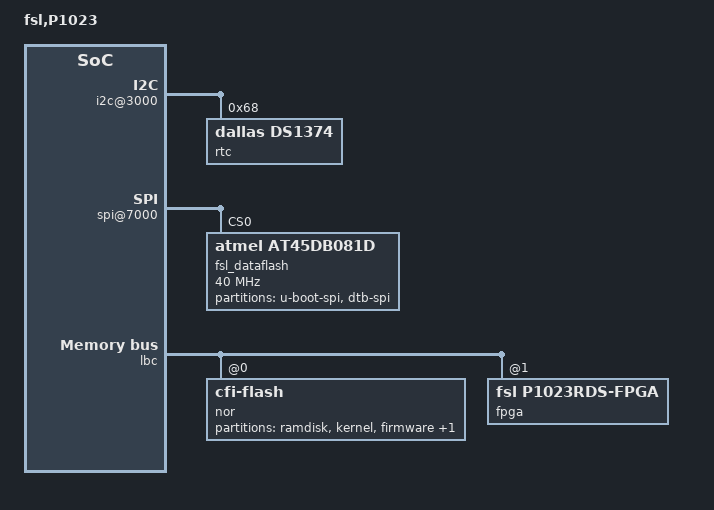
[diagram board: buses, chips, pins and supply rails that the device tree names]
/*
 * P1023 RDS Device Tree Source
 *
 * Copyright 2010-2011 Freescale Semiconductor Inc.
 *
 * Author: Roy Zang <tie-fei.zang@freescale.com>
 *
 * Redistribution and use in source and binary forms, with or without
 * modification, are permitted provided that the following conditions are met:
 *     * Redistributions of source code must retain the above copyright
 *       notice, this list of conditions and the following disclaimer.
 *     * Redistributions in binary form must reproduce the above copyright
 *       notice, this list of conditions and the following disclaimer in the
 *       documentation and/or other materials provided with the distribution.
 *     * Neither the name of Freescale Semiconductor nor the
 *       names of its contributors may be used to endorse or promote products
 *       derived from this software without specific prior written permission.
 *
 *
 * ALTERNATIVELY, this software may be distributed under the terms of the
 * GNU General Public License ("GPL") as published by the Free Software
 * Foundation, either version 2 of that License or (at your option) any
 * later version.
 *
 * THIS SOFTWARE IS PROVIDED BY Freescale Semiconductor ``AS IS'' AND ANY
 * EXPRESS OR IMPLIED WARRANTIES, INCLUDING, BUT NOT LIMITED TO, THE IMPLIED
 * WARRANTIES OF MERCHANTABILITY AND FITNESS FOR A PARTICULAR PURPOSE ARE
 * DISCLAIMED. IN NO EVENT SHALL Freescale Semiconductor BE LIABLE FOR ANY
 * DIRECT, INDIRECT, INCIDENTAL, SPECIAL, EXEMPLARY, OR CONSEQUENTIAL DAMAGES
 * (INCLUDING, BUT NOT LIMITED TO, PROCUREMENT OF SUBSTITUTE GOODS OR SERVICES;
 * LOSS OF USE, DATA, OR PROFITS; OR BUSINESS INTERRUPTION) HOWEVER CAUSED AND
 * ON ANY THEORY OF LIABILITY, WHETHER IN CONTRACT, STRICT LIABILITY, OR TORT
 * (INCLUDING NEGLIGENCE OR OTHERWISE) ARISING IN ANY WAY OUT OF THE USE OF THIS
 * SOFTWARE, EVEN IF ADVISED OF THE POSSIBILITY OF SUCH DAMAGE.
 */

/include/ "fsl/p1023si-pre.dtsi"

/ {
	model = "fsl,P1023";
	compatible = "fsl,P1023RDS";
	#address-cells = <2>;
	#size-cells = <2>;
	interrupt-parent = <&mpic>;

	memory {
		device_type = "memory";
	};

	soc: soc@ff600000 {
		ranges = <0x0 0x0 0xff600000 0x200000>;

		i2c@3000 {
			rtc@68 {
				compatible = "dallas,ds1374";
				reg = <0x68>;
			};
		};

		spi@7000 {
			fsl_dataflash@0 {
				#address-cells = <1>;
				#size-cells = <1>;
				compatible = "atmel,at45db081d";
				reg = <0>;
				spi-max-frequency = <40000000>; /* input clock */
				partition@u-boot {
					/* 512KB for u-boot Bootloader Image */
					label = "u-boot-spi";
					reg = <0x00000000 0x00080000>;
					read-only;
				};
				partition@dtb {
					/* 512KB for DTB Image */
					label = "dtb-spi";
					reg = <0x00080000 0x00080000>;
					read-only;
				};
			};
		};

		usb@22000 {
			dr_mode = "host";
			phy_type = "ulpi";
		};
	};

	lbc: localbus@ff605000 {
		reg = <0 0xff605000 0 0x1000>;

		/* NOR Flash, BCSR */
		ranges = <0x0 0x0 0x0 0xee000000 0x02000000
			  0x1 0x0 0x0 0xe0000000 0x00008000>;

		nor@0,0 {
			#address-cells = <1>;
			#size-cells = <1>;
			compatible = "cfi-flash";
			reg = <0x0 0x0 0x02000000>;
			bank-width = <2>;
			device-width = <1>;
			partition@0 {
				label = "ramdisk";
				reg = <0x00000000 0x01c00000>;
			};
			partition@1c00000 {
				label = "kernel";
				reg = <0x01c00000 0x002e0000>;
			};
			partiton@1ee0000 {
				label = "dtb";
				reg = <0x01ee0000 0x00020000>;
			};
			partition@1f00000 {
				label = "firmware";
				reg = <0x01f00000 0x00080000>;
				read-only;
			};
			partition@1f80000 {
				label = "u-boot";
				reg = <0x01f80000 0x00080000>;
				read-only;
			};
		};

		fpga@1,0 {
			#address-cells = <1>;
			#size-cells = <1>;
			compatible = "fsl,p1023rds-fpga";
			reg = <1 0 0x8000>;
			ranges = <0 1 0 0x8000>;

			bcsr@20 {
				compatible = "fsl,p1023rds-bcsr";
				reg = <0x20 0x20>;
			};
		};
	};

	pci0: pcie@ff60a000 {
		reg = <0 0xff60a000 0 0x1000>;
		ranges = <0x2000000 0x0 0xc0000000 0 0xc0000000 0x0 0x20000000
			  0x1000000 0x0 0x00000000 0 0xffc20000 0x0 0x10000>;
		pcie@0 {
			/* IRQ[0:3] are pulled up on board, set to active-low */
			interrupt-map-mask = <0xf800 0 0 7>;
			interrupt-map = <
				/* IDSEL 0x0 */
				0000 0 0 1 &mpic 0 1 0 0
				0000 0 0 2 &mpic 1 1 0 0
				0000 0 0 3 &mpic 2 1 0 0
				0000 0 0 4 &mpic 3 1 0 0
				>;
			ranges = <0x2000000 0x0 0xc0000000
				  0x2000000 0x0 0xc0000000
				  0x0 0x20000000

				  0x1000000 0x0 0x0
				  0x1000000 0x0 0x0
				  0x0 0x100000>;
		};
	};

	board_pci1: pci1: pcie@ff609000 {
		reg = <0 0xff609000 0 0x1000>;
		ranges = <0x2000000 0x0 0xa0000000 0 0xa0000000 0x0 0x20000000
			  0x1000000 0x0 0x00000000 0 0xffc10000 0x0 0x10000>;
		pcie@0 {
			/*
			 * IRQ[4:6] only for PCIe, set to active-high,
			 * IRQ[7] is pulled up on board, set to active-low
			 */
			interrupt-map-mask = <0xf800 0 0 7>;
			interrupt-map = <
				/* IDSEL 0x0 */
				0000 0 0 1 &mpic 4 2 0 0
				0000 0 0 2 &mpic 5 2 0 0
				0000 0 0 3 &mpic 6 2 0 0
				0000 0 0 4 &mpic 7 1 0 0
				>;
			ranges = <0x2000000 0x0 0xa0000000
				  0x2000000 0x0 0xa0000000
				  0x0 0x20000000

				  0x1000000 0x0 0x0
				  0x1000000 0x0 0x0
				  0x0 0x100000>;
		};
	};

	pci2: pcie@ff60b000 {
		reg = <0 0xff60b000 0 0x1000>;
		ranges = <0x2000000 0x0 0x80000000 0 0x80000000 0x0 0x20000000
			  0x1000000 0x0 0x00000000 0 0xffc00000 0x0 0x10000>;
		pcie@0 {
			/*
			 * IRQ[8:10] are pulled up on board, set to active-low
			 * IRQ[11] only for PCIe, set to active-high,
			 */
			interrupt-map-mask = <0xf800 0 0 7>;
			interrupt-map = <
				/* IDSEL 0x0 */
				0000 0 0 1 &mpic 8 1 0 0
				0000 0 0 2 &mpic 9 1 0 0
				0000 0 0 3 &mpic 10 1 0 0
				0000 0 0 4 &mpic 11 2 0 0
				>;
			ranges = <0x2000000 0x0 0x80000000
				  0x2000000 0x0 0x80000000
				  0x0 0x20000000

				  0x1000000 0x0 0x0
				  0x1000000 0x0 0x0
				  0x0 0x100000>;
		};
	};
};

/include/ "fsl/p1023si-post.dtsi"
